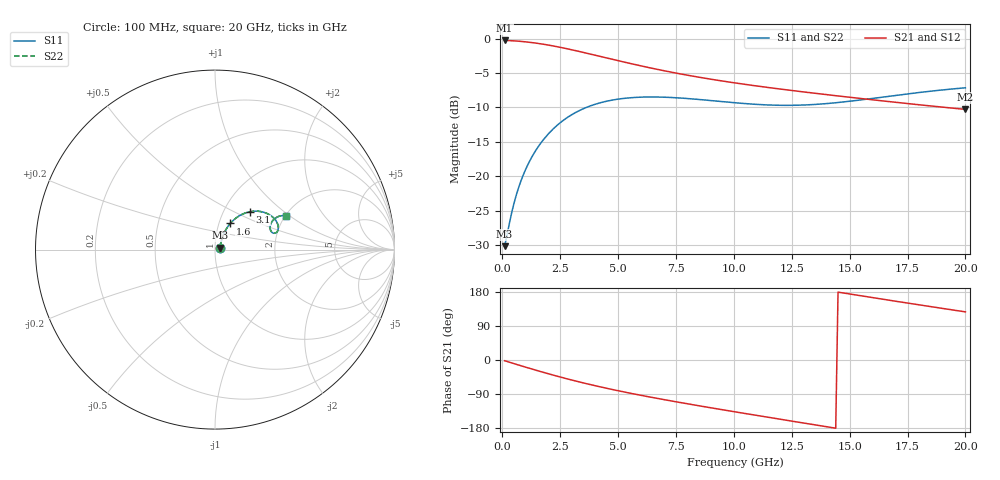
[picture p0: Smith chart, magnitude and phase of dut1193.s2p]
! Touchstone file exported from HFSS 2024.1.0
!  File:  C:/UserFiles/LocalFiles/RDL_TSV_Batchsim/temp_RDL_TSV_1193_1780128670.aedt
!  Generated:  04:25:35 PM May 30, 2026
!  Design:  RDL_TSV
!  Project:  temp_RDL_TSV_1193_1780128670
!  Setup:  Setup1
!  Solution:  Sweep
! Variables:
!  dtsv = 6.08um
!  hbump = 3um
!  htsv = 81.38um
!  ldown = 469.76um
!  lrdl = 483.42um
!  p = 40
!  p1 = 47.95um
!  rhole = 10um
!  subl = 3342.96um
!  t = 450um
!  tdown = 3.64um
!  trdl = 3.29um
!  viad = 10um
!  wdown = 15.68um
!  wrdl = 10.65um
!  xbump = 18um
# GHz S MA R 50.000000
! Terminal data exported
! Port[1] = TM1_1_T1
! Port[2] = TM1_4_T1
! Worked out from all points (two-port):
!   200 points, 100 MHz to 20 GHz, reference 50 ohm
!   highest |S21| = -0.26 dB at 100 MHz (marker M1); lowest = -10.3 dB at 20 GHz (marker M2)
!   |S21| within 3 dB of the highest: start of sweep to 5.079 GHz
!   lowest |S11| = -30.2 dB at 100 MHz (marker M3), VSWR 1.06, Z = 53 + j1.15 ohm
!   |S11| at or under -10 dB: start of sweep to 3.627 GHz
!   |S22| runs from -30.2 to -7.1 dB; largest |S21 - S12| = 1.2e-14
!   S11 on the Smith chart (normalised r, x): 100 MHz: 1.06, +0.02; 1.6 GHz: 1.13, +0.34; 3.1 GHz: 1.32, +0.61; 20 GHz: 2.02, +0.95
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0.1  0.03103 20.4  0.9709 -1.9  0.9709 -1.9  0.03103 20.4
! Gamma 0 0 0 0
! Port Impedance 50 0 50 0
0.4  0.05383 51.0  0.9666 -7.6  0.9666 -7.6  0.05383 51.0
0.5  0.06313 54.9  0.9644 -9.5  0.9644 -9.5  0.06312 54.9
0.7  0.08226 59.1  0.9591 -13.2  0.9591 -13.2  0.08225 59.1
0.9  0.1016 60.9  0.9527 -16.9  0.9527 -16.9  0.1016 60.9
1.1  0.121 61.4  0.9451 -20.6  0.9451 -20.6  0.121 61.4
1.6  0.1684 59.7  0.9214 -29.6  0.9214 -29.6  0.1684 59.8
2.3  0.2292 54.5  0.8792 -41.6  0.8792 -41.6  0.2291 54.5
3.1  0.2866 47.3  0.8236 -54.4  0.8236 -54.4  0.2866 47.4
3.5  0.3097 43.7  0.7949 -60.5  0.7949 -60.5  0.3097 43.7
4.2  0.341 37.7  0.7454 -70.5  0.7454 -70.5  0.3409 37.7
5.1  0.3656 30.8  0.6861 -82.4  0.6861 -82.4  0.3655 30.9
5.9  0.3754 25.7  0.6392 -92.2  0.6392 -92.2  0.3753 25.8
6.8  0.3764 21.2  0.5934 -102.5  0.5934 -102.5  0.3764 21.3
8.4  0.3628 16.3  0.528 -119.8  0.528 -119.8  0.3628 16.4
10.1  0.3416 15.4  0.4756 -137.3  0.4756 -137.3  0.3416 15.5
11.7  0.3288 17.9  0.437 -153.3  0.437 -153.3  0.3289 18.0
13.4  0.3319 22.3  0.403 -170.1  0.403 -170.1  0.332 22.4
15  0.3509 25.8  0.3752 174.2  0.3752 174.2  0.3511 25.9
16.7  0.3814 27.5  0.349 157.8  0.349 157.8  0.3817 27.6
18.3  0.4118 27.2  0.3269 142.7  0.3269 142.7  0.4122 27.3
20  0.4395 25.4  0.3063 127.0  0.3063 127.0  0.4399 25.6
